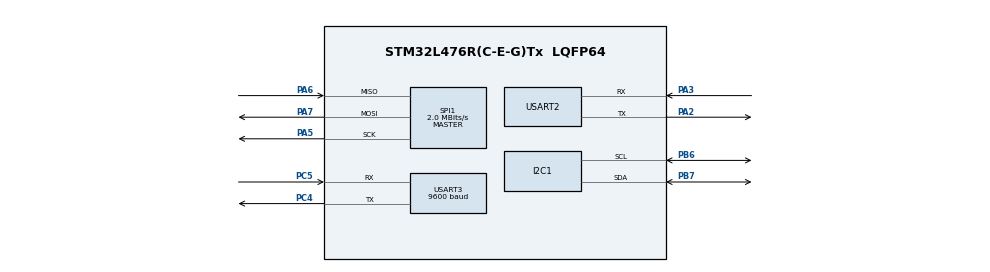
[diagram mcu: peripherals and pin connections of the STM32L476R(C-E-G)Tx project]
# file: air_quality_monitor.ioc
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FREERTOS.Tasks01=defaultTask,24,128,StartDefaultTask,Default,NULL,Dynamic,NULL,NULL
FREERTOS.configTOTAL_HEAP_SIZE=8192
I2C1.Timing=0x00100D14
Mcu.Family=STM32L4
Mcu.Name=STM32L476R(C-E-G)Tx
Mcu.Package=LQFP64
NVIC.PriorityGroup=NVIC_PRIORITYGROUP_4
NVIC.TIM6_DAC_IRQn=true\:15\:0\:false\:false\:true\:false\:false\:true\:true
NVIC.TimeBase=TIM6_DAC_IRQn
NVIC.TimeBaseIP=TIM6
PA2.Mode=Asynchronous
PA2.Signal=USART2_TX
PA3.Mode=Asynchronous
PA3.Signal=USART2_RX
PA5.Mode=Full_Duplex_Master
PA5.Signal=SPI1_SCK
PA6.Mode=Full_Duplex_Master
PA6.Signal=SPI1_MISO
PA7.Mode=Full_Duplex_Master
PA7.Signal=SPI1_MOSI
PB6.Mode=I2C
PB6.Signal=I2C1_SCL
PB7.Mode=I2C
PB7.Signal=I2C1_SDA
PC4.Mode=Asynchronous
PC4.Signal=USART3_TX
PC5.Mode=Asynchronous
PC5.Signal=USART3_RX
ProjectManager.HeapSize=0x200
ProjectManager.StackSize=0x400
ProjectManager.TargetToolchain=CMake
RCC.HSE_VALUE=8000000
RCC.HSI_VALUE=16000000
RCC.LSE_VALUE=32768
RCC.MSI_VALUE=4000000
RCC.VCOOutputFreq_Value=32000000
SPI1.CalculateBaudRate=2.0 MBits/s
SPI1.Direction=SPI_DIRECTION_2LINES
SPI1.Mode=SPI_MODE_MASTER
SPI1.VirtualType=VM_MASTER
USART2.VirtualMode-Asynchronous=VM_ASYNC
USART3.BaudRate=9600
USART3.VirtualMode-Asynchronous=VM_ASYNC
VP_FREERTOS_VS_CMSIS_V2.Mode=CMSIS_V2
VP_SYS_VS_tim6.Mode=TIM6
board=custom

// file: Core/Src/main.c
/* USER CODE BEGIN Header */
/**
  ******************************************************************************
  * @file           : main.c
  * @brief          : Main program body
  ******************************************************************************
  * @attention
  *
  * Copyright (c) 2026 STMicroelectronics.
  * All rights reserved.
  *
  * This software is licensed under terms that can be found in the LICENSE file
  * in the root directory of this software component.
  * If no LICENSE file comes with this software, it is provided AS-IS.
  *
  ******************************************************************************
  */
/* USER CODE END Header */
#include "main.h"
#include "cmsis_os.h"

/* USER CODE BEGIN Includes */
#include "scd40.h"
#include "pms5003.h"
#include "w25q32.h"
#include "queues.h"
#include "sensor_task.h"
#include "pipeline_task.h"
#include "flash_task.h"
#include "ble_task.h"
/* USER CODE END Includes */

I2C_HandleTypeDef hi2c1;

SPI_HandleTypeDef hspi1;

UART_HandleTypeDef huart2;
UART_HandleTypeDef huart3;

/* Definitions for defaultTask */
osThreadId_t defaultTaskHandle;
const osThreadAttr_t defaultTask_attributes = {
  .name = "defaultTask",
  .stack_size = 128 * 4,
  .priority = (osPriority_t) osPriorityNormal,
};

void SystemClock_Config(void);
static void MX_GPIO_Init(void);
static void MX_I2C1_Init(void);
static void MX_SPI1_Init(void);
static void MX_USART2_UART_Init(void);
static void MX_USART3_UART_Init(void);
void StartDefaultTask(void *argument);

int main(void)
{

  /* MCU Configuration--------------------------------------------------------*/

  /* Reset of all peripherals, Initializes the Flash interface and the Systick. */
  HAL_Init();

  /* Configure the system clock */
  SystemClock_Config();

  /* Initialize all configured peripherals */
  MX_GPIO_Init();
  MX_I2C1_Init();
  MX_SPI1_Init();
  MX_USART2_UART_Init();
  MX_USART3_UART_Init();
  /* USER CODE BEGIN 2 */
  scd40_init(&hi2c1);
  pms5003_init(&huart3);
  w25q32_init(&hspi1);

  xSensorQueue = xQueueCreate(4, sizeof(sensor_readings_t));
  xFlashQueue  = xQueueCreate(4, sizeof(log_record_t));
  xBLEQueue    = xQueueCreate(4, sizeof(log_record_t));

  xTaskCreate(sensor_task, "sensor", 512, NULL, 4, NULL);
  xTaskCreate(pipeline_task, "pipeline", 512,NULL, 3, NULL);
  xTaskCreate(flash_task, "flash", 384, NULL, 2, NULL);
  xTaskCreate(ble_task, "ble", 512, NULL, 1, NULL);
  /* USER CODE END 2 */

  /* Init scheduler */
  osKernelInitialize();

  /* Create the thread(s) */
  /* creation of defaultTask */
  defaultTaskHandle = osThreadNew(StartDefaultTask, NULL, &defaultTask_attributes);

  /* Start scheduler */
  osKernelStart();

  /* We should never get here as control is now taken by the scheduler */

  /* Infinite loop */
  while (1)
  {

  }
}

void SystemClock_Config(void)
{
  RCC_OscInitTypeDef RCC_OscInitStruct = {0};
  RCC_ClkInitTypeDef RCC_ClkInitStruct = {0};

  /** Configure the main internal regulator output voltage
  */
  if (HAL_PWREx_ControlVoltageScaling(PWR_REGULATOR_VOLTAGE_SCALE1) != HAL_OK)
  {
    Error_Handler();
  }

  /** Initializes the RCC Oscillators according to the specified parameters
  * in the RCC_OscInitTypeDef structure.
  */
  RCC_OscInitStruct.OscillatorType = RCC_OSCILLATORTYPE_MSI;
  RCC_OscInitStruct.MSIState = RCC_MSI_ON;
  RCC_OscInitStruct.MSICalibrationValue = 0;
  RCC_OscInitStruct.MSIClockRange = RCC_MSIRANGE_6;
  RCC_OscInitStruct.PLL.PLLState = RCC_PLL_NONE;
  if (HAL_RCC_OscConfig(&RCC_OscInitStruct) != HAL_OK)
  {
    Error_Handler();
  }

  /** Initializes the CPU, AHB and APB buses clocks
  */
  RCC_ClkInitStruct.ClockType = RCC_CLOCKTYPE_HCLK|RCC_CLOCKTYPE_SYSCLK
                              |RCC_CLOCKTYPE_PCLK1|RCC_CLOCKTYPE_PCLK2;
  RCC_ClkInitStruct.SYSCLKSource = RCC_SYSCLKSOURCE_MSI;
  RCC_ClkInitStruct.AHBCLKDivider = RCC_SYSCLK_DIV1;
  RCC_ClkInitStruct.APB1CLKDivider = RCC_HCLK_DIV1;
  RCC_ClkInitStruct.APB2CLKDivider = RCC_HCLK_DIV1;

  if (HAL_RCC_ClockConfig(&RCC_ClkInitStruct, FLASH_LATENCY_0) != HAL_OK)
  {
    Error_Handler();
  }
}

static void MX_I2C1_Init(void)
{

  hi2c1.Instance = I2C1;
  hi2c1.Init.Timing = 0x00100D14;
  hi2c1.Init.OwnAddress1 = 0;
  hi2c1.Init.AddressingMode = I2C_ADDRESSINGMODE_7BIT;
  hi2c1.Init.DualAddressMode = I2C_DUALADDRESS_DISABLE;
  hi2c1.Init.OwnAddress2 = 0;
  hi2c1.Init.OwnAddress2Masks = I2C_OA2_NOMASK;
  hi2c1.Init.GeneralCallMode = I2C_GENERALCALL_DISABLE;
  hi2c1.Init.NoStretchMode = I2C_NOSTRETCH_DISABLE;
  if (HAL_I2C_Init(&hi2c1) != HAL_OK)
  {
    Error_Handler();
  }

  /** Configure Analogue filter
  */
  if (HAL_I2CEx_ConfigAnalogFilter(&hi2c1, I2C_ANALOGFILTER_ENABLE) != HAL_OK)
  {
    Error_Handler();
  }

  /** Configure Digital filter
  */
  if (HAL_I2CEx_ConfigDigitalFilter(&hi2c1, 0) != HAL_OK)
  {
    Error_Handler();
  }

}

static void MX_SPI1_Init(void)
{

  /* SPI1 parameter configuration*/
  hspi1.Instance = SPI1;
  hspi1.Init.Mode = SPI_MODE_MASTER;
  hspi1.Init.Direction = SPI_DIRECTION_2LINES;
  hspi1.Init.DataSize = SPI_DATASIZE_4BIT;
  hspi1.Init.CLKPolarity = SPI_POLARITY_LOW;
  hspi1.Init.CLKPhase = SPI_PHASE_1EDGE;
  hspi1.Init.NSS = SPI_NSS_SOFT;
  hspi1.Init.BaudRatePrescaler = SPI_BAUDRATEPRESCALER_2;
  hspi1.Init.FirstBit = SPI_FIRSTBIT_MSB;
  hspi1.Init.TIMode = SPI_TIMODE_DISABLE;
  hspi1.Init.CRCCalculation = SPI_CRCCALCULATION_DISABLE;
  hspi1.Init.CRCPolynomial = 7;
  hspi1.Init.CRCLength = SPI_CRC_LENGTH_DATASIZE;
  hspi1.Init.NSSPMode = SPI_NSS_PULSE_ENABLE;
  if (HAL_SPI_Init(&hspi1) != HAL_OK)
  {
    Error_Handler();
  }

}

static void MX_USART2_UART_Init(void)
{

  huart2.Instance = USART2;
  huart2.Init.BaudRate = 115200;
  huart2.Init.WordLength = UART_WORDLENGTH_8B;
  huart2.Init.StopBits = UART_STOPBITS_1;
  huart2.Init.Parity = UART_PARITY_NONE;
  huart2.Init.Mode = UART_MODE_TX_RX;
  huart2.Init.HwFlowCtl = UART_HWCONTROL_NONE;
  huart2.Init.OverSampling = UART_OVERSAMPLING_16;
  huart2.Init.OneBitSampling = UART_ONE_BIT_SAMPLE_DISABLE;
  huart2.AdvancedInit.AdvFeatureInit = UART_ADVFEATURE_NO_INIT;
  if (HAL_UART_Init(&huart2) != HAL_OK)
  {
    Error_Handler();
  }

}

static void MX_USART3_UART_Init(void)
{

  huart3.Instance = USART3;
  huart3.Init.BaudRate = 9600;
  huart3.Init.WordLength = UART_WORDLENGTH_8B;
  huart3.Init.StopBits = UART_STOPBITS_1;
  huart3.Init.Parity = UART_PARITY_NONE;
  huart3.Init.Mode = UART_MODE_TX_RX;
  huart3.Init.HwFlowCtl = UART_HWCONTROL_NONE;
  huart3.Init.OverSampling = UART_OVERSAMPLING_16;
  huart3.Init.OneBitSampling = UART_ONE_BIT_SAMPLE_DISABLE;
  huart3.AdvancedInit.AdvFeatureInit = UART_ADVFEATURE_NO_INIT;
  if (HAL_UART_Init(&huart3) != HAL_OK)
  {
    Error_Handler();
  }

}

static void MX_GPIO_Init(void)
{

  /* GPIO Ports Clock Enable */
  __HAL_RCC_GPIOA_CLK_ENABLE();
  __HAL_RCC_GPIOC_CLK_ENABLE();
  __HAL_RCC_GPIOB_CLK_ENABLE();

}

void StartDefaultTask(void *argument)
{
  for(;;)
  {
    osDelay(1);
  }
}

void HAL_TIM_PeriodElapsedCallback(TIM_HandleTypeDef *htim)
{
  if (htim->Instance == TIM6)
  {
    HAL_IncTick();
  }
}

void Error_Handler(void)
{
  __disable_irq();
  while (1)
  {
  }
}
